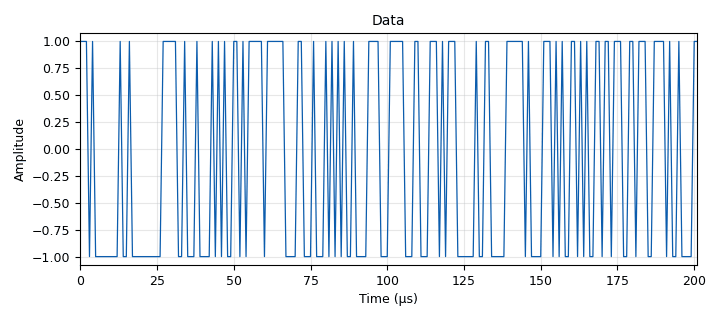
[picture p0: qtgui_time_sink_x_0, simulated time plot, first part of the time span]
options:
  parameters:
    author: Huascar
    description: error_correction
    generate_options: qt_gui
    id: error_cor
    output_language: python
    title: error_cor
  states: {}

blocks:
- name: noise_stdev
  id: variable_qtgui_range
  parameters:
    start: '0'
    step: '0.05'
    stop: '2'
    value: '0'
  states: {}
- name: samp_rate
  id: variable
  parameters:
    value: 1e6
  states: {}
- name: analog_fastnoise_source_x_0
  id: analog_fastnoise_source_x
  parameters:
    amp: noise_stdev
    noise_type: analog.GR_GAUSSIAN
    samples: '8192'
    seed: '0'
    type: float
  states: {}
- name: analog_random_source_x_0
  id: analog_random_source_x
  parameters:
    max: '2'
    min: '0'
    num_samps: '1000'
    repeat: 'True'
    type: byte
  states: {}
- name: blocks_add_xx_0
  id: blocks_add_xx
  parameters:
    type: float
  states: {}
- name: blocks_char_to_float_0
  id: blocks_char_to_float
  parameters:
    scale: '1'
  states: {}
- name: blocks_throttle_0
  id: blocks_throttle
  parameters:
    samples_per_second: samp_rate
    type: byte
  states: {}
- name: digital_binary_slicer_fb_0
  id: digital_binary_slicer_fb
  parameters: {}
  states: {}
- name: digital_map_bb_0
  id: digital_map_bb
  parameters:
    map: '[-1,1]'
  states: {}
- name: fec_ber_bf_0
  id: fec_ber_bf
  parameters:
    test_mode: 'False'
  states: {}
- name: qtgui_number_sink_0
  id: qtgui_number_sink
  parameters:
    graph_type: qtgui.NUM_GRAPH_HORIZ
    name: '"BER 10 ^ n"'
    type: float
  states: {}
- name: qtgui_time_sink_x_0
  id: qtgui_time_sink_x
  parameters:
    name: '"Data"'
    size: '1024'
    srate: samp_rate
    type: float
  states: {}
- name: qtgui_time_sink_x_0_0
  id: qtgui_time_sink_x
  parameters:
    name: '"Noise"'
    size: '1024'
    srate: samp_rate
    type: float
  states: {}

connections:
- [analog_fastnoise_source_x_0, '0', blocks_add_xx_0, '0']
- [analog_fastnoise_source_x_0, '0', qtgui_time_sink_x_0_0, '0']
- [analog_random_source_x_0, '0', blocks_throttle_0, '0']
- [analog_random_source_x_0, '0', fec_ber_bf_0, '1']
- [blocks_add_xx_0, '0', digital_binary_slicer_fb_0, '0']
- [blocks_add_xx_0, '0', qtgui_time_sink_x_0, '0']
- [blocks_char_to_float_0, '0', blocks_add_xx_0, '1']
- [blocks_throttle_0, '0', digital_map_bb_0, '0']
- [digital_binary_slicer_fb_0, '0', fec_ber_bf_0, '0']
- [digital_map_bb_0, '0', blocks_char_to_float_0, '0']
- [fec_ber_bf_0, '0', qtgui_number_sink_0, '0']

metadata:
  file_format: 1
  grc_version: 3.10.5.1
